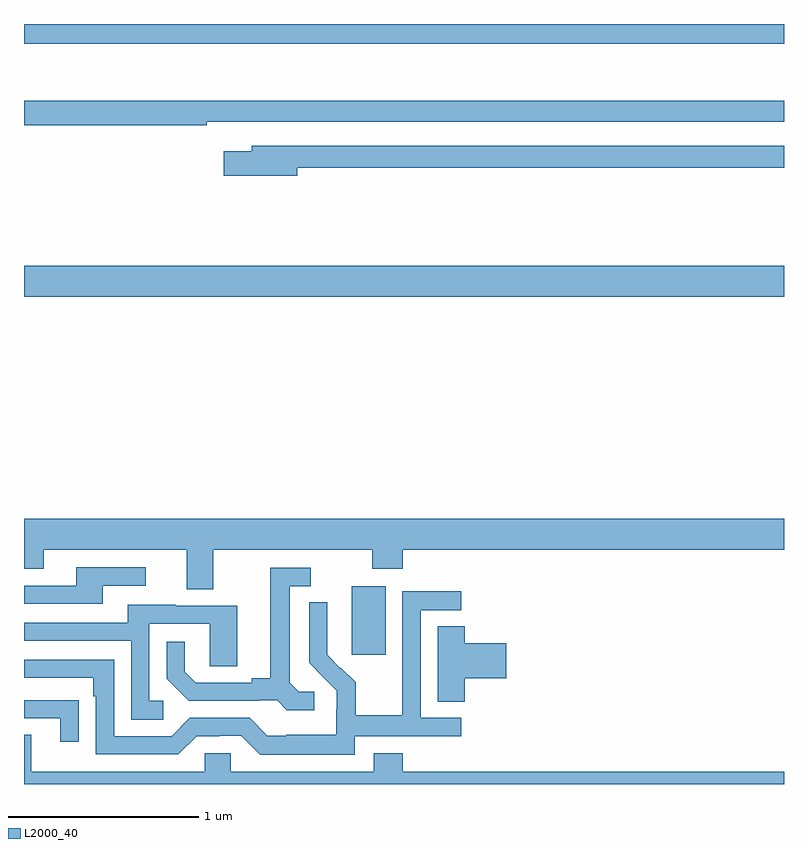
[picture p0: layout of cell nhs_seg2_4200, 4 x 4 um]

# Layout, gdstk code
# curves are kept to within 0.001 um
import gdstk
lib = gdstk.Library(unit=1e-6, precision=1e-09)
def R(c, l, rs):  # rectangles x0, y0, x1, y1
    for r in rs: c.add(gdstk.rectangle(r[:2], r[2:], *l))
def P(c, l, *ps):  # polygons
    for p in ps: c.add(gdstk.Polygon(p, *l))
L2000_40 = (2000, 40)

nhs_seg2_4200 = lib.new_cell('nhs_seg2_4200')
R(nhs_seg2_4200, L2000_40, [(340.724,584.481,340.903,584.842), (339,586.364,343,586.528), (339,587.696,343,587.8)])
P(nhs_seg2_4200, L2000_40, [(339.962,587.286),(343,587.286),(343,587.395),(339,587.395),(339,587.266),(339.962,587.266)],
  [(340.438,587.044),(343,587.044),(343,587.16),(340.199,587.16),(340.199,587.131),(340.05,587.131),(340.05,587.002),(340.438,587.002)],
  [(339.997,585.032),(340.834,585.032),(340.834,584.933),(340.994,584.933),(340.994,585.032),(343,585.032),(343,585.196),(339,585.196),(339,584.933),(339.103,584.933),(339.103,585.032),(339.857,585.032),(339.857,584.824),(339.997,584.824)],
  [(339.415,584.844),(339.64,584.844),(339.64,584.94),(339.275,584.94),(339.275,584.844),(339,584.844),(339,584.748),(339.415,584.748)],
  [(340.528,584.286),(340.446,584.286),(340.399,584.333),(340.399,584.841),(340.51,584.841),(340.51,584.937),(340.295,584.937),(340.295,584.357),(340.199,584.357),(340.199,584.334),(339.904,584.334),(339.847,584.391),(339.847,584.548),(339.75,584.548),(339.75,584.354),(339.866,584.238),(340.238,584.238),(340.238,584.241),(340.332,584.241),(340.384,584.189),(340.528,584.189)],
  [(340.74,584.052),(341.302,584.052),(341.302,584.148),(341.088,584.148),(341.088,584.715),(341.302,584.715),(341.302,584.814),(340.992,584.814),(340.992,584.384),(340.99,584.384),(340.99,584.161),(340.745,584.161),(340.745,584.335),(340.668,584.412),(340.665,584.409),(340.595,584.48),(340.596,584.756),(340.5,584.756),(340.5,584.438),(340.646,584.29),(340.646,584.193),(340.644,584.193),(340.644,584.059),(340.381,584.059),(340.381,584.055),(340.281,584.055),(340.188,584.148),(339.873,584.148),(339.777,584.052),(339.474,584.052),(339.474,584.454),(339,584.454),(339,584.358),(339.365,584.358),(339.365,584.261),(339.378,584.261),(339.378,583.956),(339.813,583.956),(339.909,584.052),(340.028,584.052),(340.028,584.055),(340.143,584.055),(340.243,583.955),(340.74,583.955)],
  [(339.733,584.238),(339.66,584.238),(339.66,584.643),(339.978,584.643),(339.978,584.419),(340.123,584.419),(340.123,584.739),(339.799,584.739),(339.799,584.743),(339.545,584.743),(339.545,584.649),(339,584.649),(339,584.553),(339.564,584.553),(339.564,584.137),(339.733,584.137)],
  [(341.321,584.357),(341.539,584.357),(341.539,584.54),(341.321,584.54),(341.321,584.63),(341.177,584.63),(341.177,584.233),(341.321,584.233)],
  [(339.287,584.24),(339.185,584.24),(339.185,584.241),(339,584.241),(339,584.145),(339.191,584.145),(339.191,584.022),(339.287,584.022)],
  [(343,583.864),(340.994,583.864),(340.994,583.963),(340.841,583.963),(340.841,583.864),(340.089,583.864),(340.089,583.962),(339.951,583.962),(339.951,583.864),(339.037,583.864),(339.037,584.059),(339,584.059),(339,583.8),(343,583.8)])

lib.write_gds('nhs_seg2_4200.gds')
